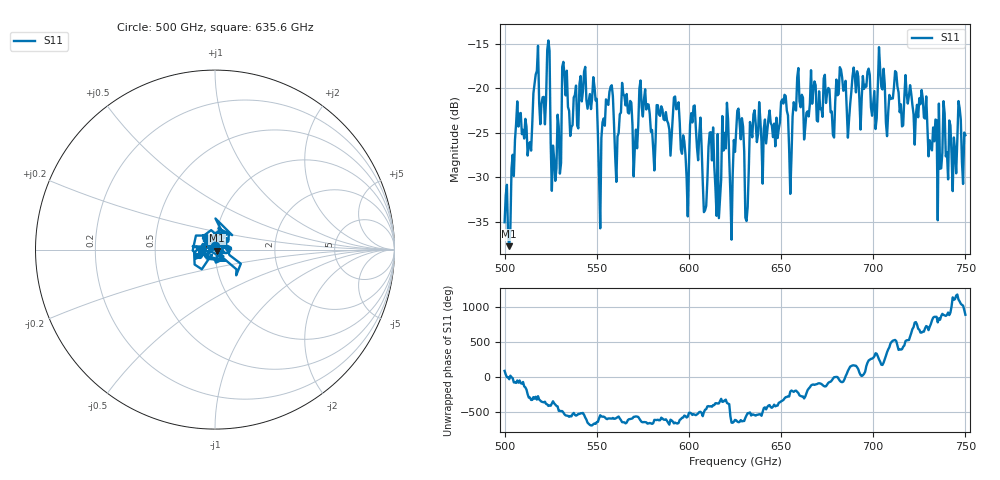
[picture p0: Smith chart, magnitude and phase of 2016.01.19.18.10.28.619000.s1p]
!Created with skrf (http://scikit-rf.org).
# GHz S RI R 50.0
!freq ReS11 ImS11
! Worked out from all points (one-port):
!   401 points, 500 GHz to 750 GHz, reference 50 ohm
!   lowest |S11| = -37.8 dB at 502.5 GHz (marker M1), VSWR 1.03, Z = 51.1 - j0.648 ohm
!   |S11| at or under -10 dB: start of sweep to end of sweep
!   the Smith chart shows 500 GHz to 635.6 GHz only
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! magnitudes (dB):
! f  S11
! 500 GHz  -35.1
! 502.5 GHz  -37.8
! 506.9 GHz  -21.5
! 513.8 GHz  -26.1
! 516.9 GHz  -18.5
! 523.8 GHz  -14.6
! 526.9 GHz  -27.9
! 531.2 GHz  -17.6
! 548.8 GHz  -19.8
! 551.9 GHz  -35.7
! 556.9 GHz  -20.4
! 562.5 GHz  -22.9
! 593.8 GHz  -22.2
! 598.8 GHz  -30.1
! 602.5 GHz  -22.0
! 608.8 GHz  -33.7
! 611.9 GHz  -24.9
! 615.6 GHz  -25.1
! 625 GHz  -27.2
! 628.1 GHz  -25.7
! 631.2 GHz  -34.9
! 634.4 GHz  -25.5
! 656.2 GHz  -23.2
! 660 GHz  -21.5
! 687.5 GHz  -21.8
! 718.8 GHz  -21.7
! 736.2 GHz  -29.0
! 750 GHz  -25.3
